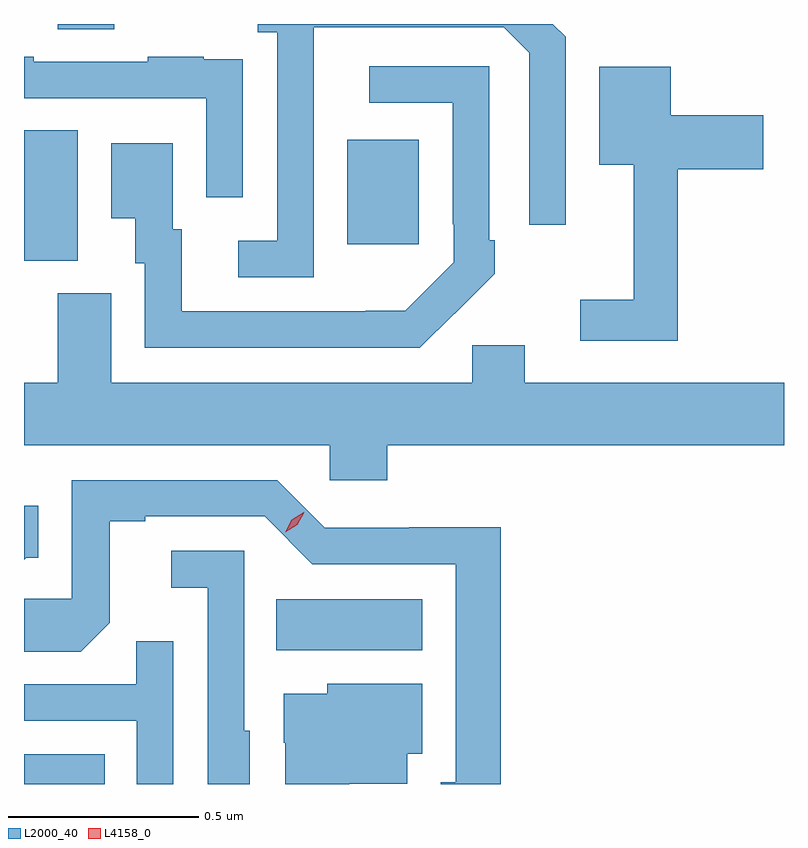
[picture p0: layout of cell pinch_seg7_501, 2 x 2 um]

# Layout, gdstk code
import gdstk
lib = gdstk.Library(unit=1e-6, precision=1e-09)
def R(c, l, rs):  # rectangles x0, y0, x1, y1
    for r in rs: c.add(gdstk.rectangle(r[:2], r[2:], *l))
def P(c, l, *ps):  # polygons
    for p in ps: c.add(gdstk.Polygon(p, *l))
L2000_40 = (2000, 40)
L4158_0 = (4158, 0)

pinch_seg7_501 = lib.new_cell('pinch_seg7_501')
R(pinch_seg7_501, L2000_40, [(225.504,1066.324,225.716,1066.402), (226.168,1066.676,226.552,1066.81), (225.504,1067.701,225.646,1068.044), (226.355,1067.745,226.543,1068.019), (225.593,1068.31,225.741,1068.324)])
P(pinch_seg7_501, L2000_40, [(226.266,1068.115),(226.267,1068.115),(226.267,1068.315),(226.767,1068.315),(226.833,1068.249),(226.833,1067.796),(226.929,1067.796),(226.929,1068.291),(226.896,1068.324),(226.119,1068.324),(226.119,1068.302),(226.17,1068.302),(226.17,1067.754),(226.068,1067.754),(226.068,1067.658),(226.266,1067.658)],
  [(226.08,1068.122),(226.079,1068.122),(226.079,1068.231),(225.977,1068.231),(225.977,1068.238),(225.829,1068.238),(225.829,1068.225),(225.529,1068.225),(225.529,1068.238),(225.504,1068.238),(225.504,1068.129),(225.984,1068.129),(225.984,1067.868),(226.08,1067.868)],
  [(226.637,1067.563),(226.638,1067.562),(226.743,1067.667),(226.743,1067.755),(226.728,1067.755),(226.728,1068.213),(226.413,1068.213),(226.413,1068.117),(226.632,1068.117),(226.632,1067.797),(226.635,1067.797),(226.635,1067.697),(226.507,1067.569),(226.403,1067.569),(226.403,1067.568),(225.919,1067.568),(225.919,1067.784),(225.895,1067.784),(225.895,1068.01),(225.734,1068.01),(225.734,1067.813),(225.797,1067.813),(225.797,1067.694),(225.822,1067.694),(225.822,1067.472),(226.546,1067.472)],
  [(227.225,1067.942),(227.449,1067.942),(227.449,1068.084),(227.206,1068.084),(227.206,1068.211),(227.018,1068.211),(227.018,1067.954),(227.108,1067.954),(227.108,1067.599),(226.968,1067.599),(226.968,1067.49),(227.225,1067.49)],
  [(226.46,1067.216),(227.504,1067.216),(227.504,1067.38),(226.822,1067.38),(226.822,1067.478),(226.683,1067.478),(226.683,1067.38),(225.733,1067.38),(225.733,1067.616),(225.593,1067.616),(225.593,1067.38),(225.504,1067.38),(225.504,1067.216),(226.308,1067.216),(226.308,1067.123),(226.46,1067.123)],
  [(226.759,1067),(226.518,1067),(226.518,1066.998),(226.296,1066.998),(226.17,1067.124),(225.63,1067.124),(225.63,1066.812),(225.504,1066.812),(225.504,1066.672),(225.653,1066.672),(225.729,1066.748),(225.729,1067.016),(225.823,1067.016),(225.823,1067.028),(226.137,1067.028),(226.263,1066.902),(226.64,1066.902),(226.64,1066.329),(226.601,1066.329),(226.601,1066.324),(226.759,1066.324)],
  [(225.51,1066.92),(225.541,1066.92),(225.541,1067.056),(225.504,1067.056),(225.504,1066.914)],
  [(226.098,1066.464),(226.083,1066.464),(226.083,1066.938),(225.891,1066.938),(225.891,1066.841),(225.987,1066.841),(225.987,1066.324),(226.098,1066.324)],
  [(225.897,1066.7),(225.799,1066.7),(225.799,1066.587),(225.504,1066.587),(225.504,1066.491),(225.801,1066.491),(225.801,1066.324),(225.897,1066.324)],
  [(226.361,1066.325),(226.513,1066.325),(226.513,1066.404),(226.552,1066.404),(226.552,1066.588),(226.302,1066.588),(226.302,1066.561),(226.187,1066.561),(226.187,1066.432),(226.191,1066.432),(226.191,1066.324),(226.36,1066.324)])
P(pinch_seg7_501, L4158_0, [(226.191,1066.987),(226.191,1066.987),(226.209,1067.02),(226.24,1067.039),(226.241,1067.039),(226.241,1067.039),(226.223,1067.006),(226.191,1066.987)])

lib.write_gds('pinch_seg7_501.gds')
